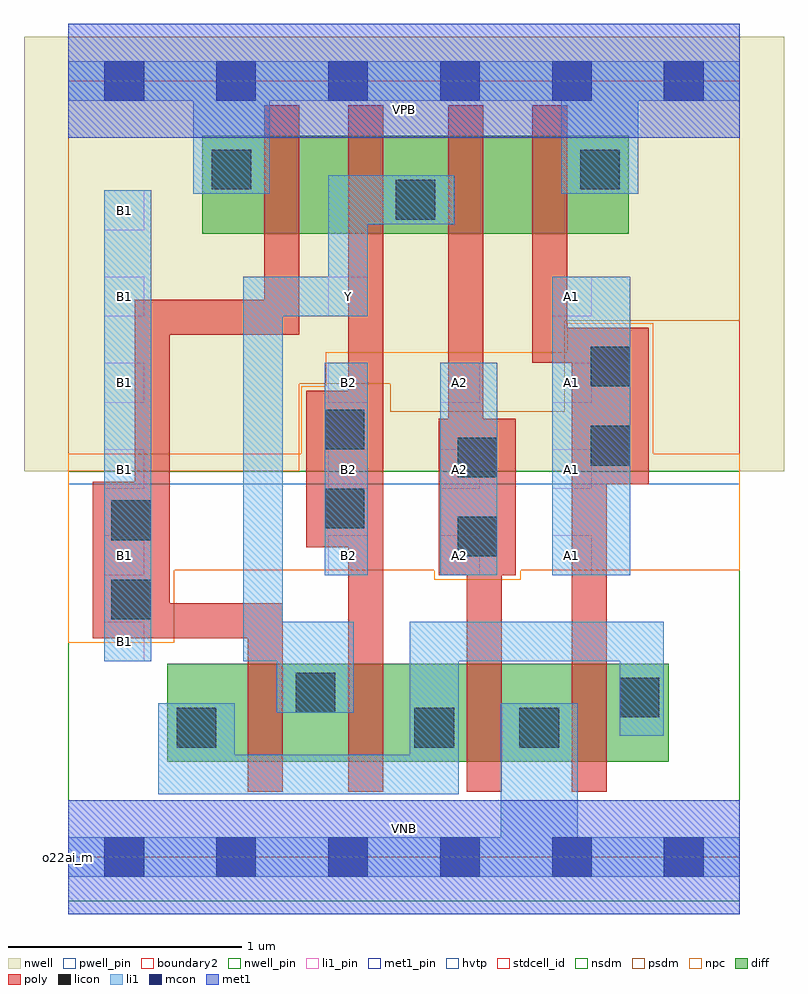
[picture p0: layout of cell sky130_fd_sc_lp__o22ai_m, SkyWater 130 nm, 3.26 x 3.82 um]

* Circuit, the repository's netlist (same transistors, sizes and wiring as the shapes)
* Copyright 2020 The SkyWater PDK Authors
*
* Licensed under the Apache License, Version 2.0 (the "License");
* you may not use this file except in compliance with the License.
* You may obtain a copy of the License at
*
*     https://www.apache.org/licenses/LICENSE-2.0
*
* Unless required by applicable law or agreed to in writing, software
* distributed under the License is distributed on an "AS IS" BASIS,
* WITHOUT WARRANTIES OR CONDITIONS OF ANY KIND, either express or implied.
* See the License for the specific language governing permissions and
* limitations under the License.
*
* SPDX-License-Identifier: Apache-2.0

.SUBCKT sky130_fd_sc_lp__o22ai_m A1 A2 B1 B2 VGND VNB VPB VPWR Y
*.PININFO A1:I A2:I B1:I B2:I VGND:I VNB:I VPB:I VPWR:I Y:O
MMPA0 VPWR A1 sndA1 VPB sky130_fd_pr__pfet_01v8_hvt m=1 w=0.42U l=0.15U mult=1
+ sa=0.265 sb=0.265 sd=0.28 area=0.063 perim=1.14
MMPA1 sndA1 A2 Y VPB sky130_fd_pr__pfet_01v8_hvt m=1 w=0.42U l=0.15U mult=1 sa=0.265
+ sb=0.265 sd=0.28 area=0.063 perim=1.14
MMPB0 VPWR B1 sndB1 VPB sky130_fd_pr__pfet_01v8_hvt m=1 w=0.42U l=0.15U mult=1
+ sa=0.265 sb=0.265 sd=0.28 area=0.063 perim=1.14
MMPB1 sndB1 B2 Y VPB sky130_fd_pr__pfet_01v8_hvt m=1 w=0.42U l=0.15U mult=1 sa=0.265
+ sb=0.265 sd=0.28 area=0.063 perim=1.14
MMNA0 pndA A1 VGND VNB sky130_fd_pr__nfet_01v8 m=1 w=0.42U l=0.15U mult=1 sa=0.265
+ sb=0.265 sd=0.28 area=0.063 perim=1.14
MMNA1 pndA A2 VGND VNB sky130_fd_pr__nfet_01v8 m=1 w=0.42U l=0.15U mult=1 sa=0.265
+ sb=0.265 sd=0.28 area=0.063 perim=1.14
MMNB0 Y B1 pndA VNB sky130_fd_pr__nfet_01v8 m=1 w=0.42U l=0.15U mult=1 sa=0.265
+ sb=0.265 sd=0.28 area=0.063 perim=1.14
MMNB1 Y B2 pndA VNB sky130_fd_pr__nfet_01v8 m=1 w=0.42U l=0.15U mult=1 sa=0.265
+ sb=0.265 sd=0.28 area=0.063 perim=1.14
.ENDS sky130_fd_sc_lp__o22ai_m

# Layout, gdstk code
import gdstk
lib = gdstk.Library(unit=1e-6, precision=1e-09)
def R(c, l, rs):  # rectangles x0, y0, x1, y1
    for r in rs: c.add(gdstk.rectangle(r[:2], r[2:], *l))
def A(c, l, x, y, w, h, nx, ny, dx, dy):  # array of equal rectangles
    R(c, l, [(x+i*dx, y+j*dy, x+i*dx+w, y+j*dy+h) for i in range(nx) for j in range(ny)])
def P(c, l, *ps):  # polygons
    for p in ps: c.add(gdstk.Polygon(p, *l))
nwell_pin = (64, 16)
nwell = (64, 20)
diff = (65, 20)
poly = (66, 20)
licon = (66, 44)
li1_pin = (67, 16)
li1 = (67, 20)
mcon = (67, 44)
met1_pin = (68, 16)
met1 = (68, 20)
hvtp = (78, 44)
stdcell_id = (81, 4)
nsdm = (93, 44)
psdm = (94, 20)
npc = (95, 20)
pwell_pin = (122, 16)
boundary2 = (236, 0)

sky130_fd_sc_lp__o22ai_m = lib.new_cell('sky130_fd_sc_lp__o22ai_m')
R(sky130_fd_sc_lp__o22ai_m, nwell_pin, [(0,3.085,2.88,3.33)])
R(sky130_fd_sc_lp__o22ai_m, nwell, [(-0.19,1.655,3.07,3.52)])
R(sky130_fd_sc_lp__o22ai_m, diff, [(0.425,0.41,2.575,0.83), (0.575,2.675,2.405,3.095)])
P(sky130_fd_sc_lp__o22ai_m, poly, [(0.99,3.225),(0.84,3.225),(0.84,2.39),(0.285,2.39),(0.285,1.61),(0.105,1.61),(0.105,0.94),(0.77,0.94),(0.77,0.28),(0.92,0.28),(0.92,1.09),(0.435,1.09),(0.435,2.24),(0.99,2.24)],
  [(1.35,3.225),(1.2,3.225),(1.2,2),(1.02,2),(1.02,1.33),(1.2,1.33),(1.2,0.28),(1.35,0.28)],
  [(1.92,1.88),(1.78,1.88),(1.78,3.225),(1.63,3.225),(1.63,1.88),(1.59,1.88),(1.59,1.21),(1.71,1.21),(1.71,0.28),(1.86,0.28),(1.86,1.21),(1.92,1.21)],
  [(2.49,2.27),(2.14,2.27),(2.14,3.225),(1.99,3.225),(1.99,2.12),(2.16,2.12),(2.16,0.28),(2.31,0.28),(2.31,1.6),(2.49,1.6)])
R(sky130_fd_sc_lp__o22ai_m, licon, [(0.465,0.47,0.635,0.64), (1.485,0.47,1.655,0.64), (1.935,0.47,2.105,0.64), (2.365,0.6,2.535,0.77), (0.975,0.62,1.145,0.79), (0.185,1.02,0.355,1.19), (1.67,1.29,1.84,1.46), (0.185,1.36,0.355,1.53), (1.1,1.41,1.27,1.58), (1.67,1.63,1.84,1.8), (2.24,1.68,2.41,1.85), (1.1,1.75,1.27,1.92), (2.24,2.02,2.41,2.19), (1.405,2.735,1.575,2.905), (0.615,2.865,0.785,3.035), (2.195,2.865,2.365,3.035)])
A(sky130_fd_sc_lp__o22ai_m, li1_pin, 0.155, 0.84, 0.17, 0.17, 1, 4, 0, 0.37)
A(sky130_fd_sc_lp__o22ai_m, li1_pin, 1.115, 1.21, 0.17, 0.17, 3, 3, 0.48, 0.37)
A(sky130_fd_sc_lp__o22ai_m, li1_pin, 0.155, 2.32, 0.17, 0.17, 3, 1, 0.96, 0)
R(sky130_fd_sc_lp__o22ai_m, li1_pin, [(0.155,2.69,0.325,2.86)])
R(sky130_fd_sc_lp__o22ai_m, li1, [(0.155,0.84,0.355,2.86), (1.1,1.21,1.285,2.12), (1.595,1.21,1.84,2.12), (2.075,1.21,2.41,2.49)])
P(sky130_fd_sc_lp__o22ai_m, li1, [(2.115,2.845),(2.115,3.245),(0.865,3.245),(0.865,2.845),(0.535,2.845),(0.535,3.245),(0,3.245),(0,3.415),(2.88,3.415),(2.88,3.245),(2.445,3.245),(2.445,2.845)],
  [(1.855,0.085),(1.855,0.66),(2.185,0.66),(2.185,0.085),(2.88,0.085),(2.88,-0.085),(0,-0.085),(0,0.085)],
  [(0.75,2.49),(1.115,2.49),(1.115,2.925),(1.655,2.925),(1.655,2.715),(1.285,2.715),(1.285,2.32),(0.92,2.32),(0.92,1.01),(1.225,1.01),(1.225,0.62),(0.895,0.62),(0.895,0.84),(0.75,0.84)],
  [(2.365,0.84),(1.675,0.84),(1.675,0.27),(0.385,0.27),(0.385,0.66),(0.715,0.66),(0.715,0.44),(1.465,0.44),(1.465,1.01),(2.555,1.01),(2.555,0.52),(2.365,0.52)])
A(sky130_fd_sc_lp__o22ai_m, mcon, 0.155, -0.085, 0.17, 0.17, 6, 2, 0.48, 3.33)
R(sky130_fd_sc_lp__o22ai_m, met1_pin, [(0,0,2.88,0.245), (0,3.085,2.88,3.33)])
R(sky130_fd_sc_lp__o22ai_m, met1, [(0,-0.245,2.88,0.245), (0,3.085,2.88,3.575)])
R(sky130_fd_sc_lp__o22ai_m, hvtp, [(0,1.6,2.88,3.33)])
R(sky130_fd_sc_lp__o22ai_m, stdcell_id, [(0,0,2.88,3.33)])
R(sky130_fd_sc_lp__o22ai_m, nsdm, [(0,-0.19,2.88,1.655)])
P(sky130_fd_sc_lp__o22ai_m, psdm, [(2.88,3.52),(0,3.52),(0,1.655),(0.99,1.655),(0.99,2.03),(1.38,2.03),(1.38,1.91),(2.13,1.91),(2.13,2.3),(2.88,2.3)])
P(sky130_fd_sc_lp__o22ai_m, npc, [(2.88,1.73),(2.51,1.73),(2.51,2.29),(2.14,2.29),(2.14,2.165),(1.105,2.165),(1.105,2.02),(1,2.02),(1,1.73),(0,1.73),(0,0.92),(0.455,0.92),(0.455,1.23),(1.57,1.23),(1.57,1.19),(1.94,1.19),(1.94,1.23),(2.88,1.23)])
R(sky130_fd_sc_lp__o22ai_m, pwell_pin, [(0,0,2.88,0.245)])
R(sky130_fd_sc_lp__o22ai_m, boundary2, [(0,0,2.88,3.33)])
sky130_fd_sc_lp__o22ai_m.add(gdstk.Label('VNB', (1.44,0.123), layer=64, texttype=59))
sky130_fd_sc_lp__o22ai_m.add(gdstk.Label('VPB', (1.44,3.208), layer=64, texttype=5))
sky130_fd_sc_lp__o22ai_m.add(gdstk.Label('o22ai_m', (0,0), layer=83, texttype=44))
sky130_fd_sc_lp__o22ai_m.add(gdstk.Label('VPWR', (1.44,3.208), layer=68, texttype=5))
sky130_fd_sc_lp__o22ai_m.add(gdstk.Label('VGND', (1.44,0.123), layer=68, texttype=5))
sky130_fd_sc_lp__o22ai_m.add(gdstk.Label('A1', (2.16,1.295), layer=67, texttype=5))
sky130_fd_sc_lp__o22ai_m.add(gdstk.Label('A1', (2.16,1.665), layer=67, texttype=5))
sky130_fd_sc_lp__o22ai_m.add(gdstk.Label('A1', (2.16,2.035), layer=67, texttype=5))
sky130_fd_sc_lp__o22ai_m.add(gdstk.Label('A1', (2.16,2.405), layer=67, texttype=5))
sky130_fd_sc_lp__o22ai_m.add(gdstk.Label('A2', (1.68,1.295), layer=67, texttype=5))
sky130_fd_sc_lp__o22ai_m.add(gdstk.Label('A2', (1.68,1.665), layer=67, texttype=5))
sky130_fd_sc_lp__o22ai_m.add(gdstk.Label('A2', (1.68,2.035), layer=67, texttype=5))
sky130_fd_sc_lp__o22ai_m.add(gdstk.Label('Y', (1.2,2.405), layer=67, texttype=5))
sky130_fd_sc_lp__o22ai_m.add(gdstk.Label('B1', (0.24,0.925), layer=67, texttype=5))
sky130_fd_sc_lp__o22ai_m.add(gdstk.Label('B1', (0.24,1.295), layer=67, texttype=5))
sky130_fd_sc_lp__o22ai_m.add(gdstk.Label('B1', (0.24,1.665), layer=67, texttype=5))
sky130_fd_sc_lp__o22ai_m.add(gdstk.Label('B1', (0.24,2.035), layer=67, texttype=5))
sky130_fd_sc_lp__o22ai_m.add(gdstk.Label('B1', (0.24,2.405), layer=67, texttype=5))
sky130_fd_sc_lp__o22ai_m.add(gdstk.Label('B1', (0.24,2.775), layer=67, texttype=5))
sky130_fd_sc_lp__o22ai_m.add(gdstk.Label('B2', (1.2,1.295), layer=67, texttype=5))
sky130_fd_sc_lp__o22ai_m.add(gdstk.Label('B2', (1.2,1.665), layer=67, texttype=5))
sky130_fd_sc_lp__o22ai_m.add(gdstk.Label('B2', (1.2,2.035), layer=67, texttype=5))

lib.write_gds('sky130_fd_sc_lp__o22ai_m.gds')
